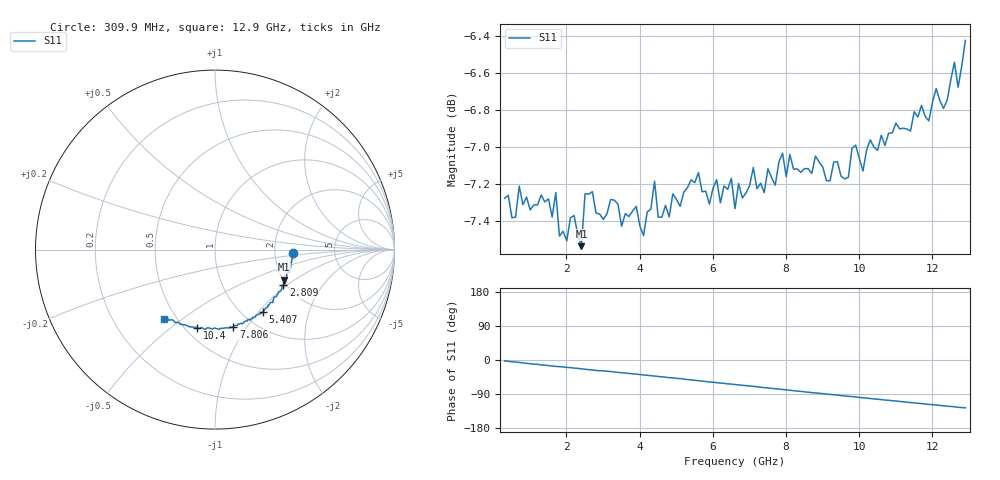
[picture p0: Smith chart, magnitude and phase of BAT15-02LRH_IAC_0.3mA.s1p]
! Infineon Technologies  Discrete & RF Semiconductors
! BAT15-02LRH
! IAC = 0.3 mA
! One-Port S-Parameters
# Hz  S  MA  R  50
!f  S11
!Hz  Mag  Ang
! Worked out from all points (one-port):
!   127 points, 309.9 MHz to 12.9 GHz, reference 50 ohm
!   lowest |S11| = -7.5 dB at 2.409 GHz (marker M1), VSWR 2.45, Z = 101 - j41.2 ohm
!   |S11| at or under -10 dB: nowhere
!   S11 on the Smith chart (normalised r, x): 309.9 MHz: 2.52, -0.11; 2.809 GHz: 1.93, -0.94; 5.407 GHz: 1.23, -1.05; 7.806 GHz: 0.81, -0.87; 10.4 GHz: 0.57, -0.62; 12.9 GHz: 0.43, -0.43
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3.0985e8  0.4326 -2.3
1.70915e9  0.4341 -16.9
1.90905e9  0.4238 -18.4
2.4088e9  0.4199 -23.5
2.50875e9  0.4338 -24.3
2.8086e9  0.4286 -27.5
3.2084e9  0.4323 -30.4
3.50825e9  0.4251 -33.6
4.10795e9  0.4227 -39.4
4.4078e9  0.4372 -42.2
4.50775e9  0.4276 -43.5
5.10745e9  0.4304 -48.9
5.4073e9  0.4376 -52.4
6.10695e9  0.4376 -59.9
6.6067e9  0.4298 -64.7
7.10645e9  0.441 -69.6
7.8061e9  0.4424 -76.6
8.2059e9  0.4405 -80.9
8.8056e9  0.4441 -86.9
9.6052e9  0.4378 -94.9
9.8051e9  0.4463 -96.5
1.04048e10  0.4465 -102.7
1.14043e10  0.4511 -112.3
1.210395e10  0.4631 -118.6
1.230385e10  0.4575 -120.9
1.26037e10  0.4708 -123.4
1.270365e10  0.4635 -124.8
1.290355e10  0.4772 -126.2
